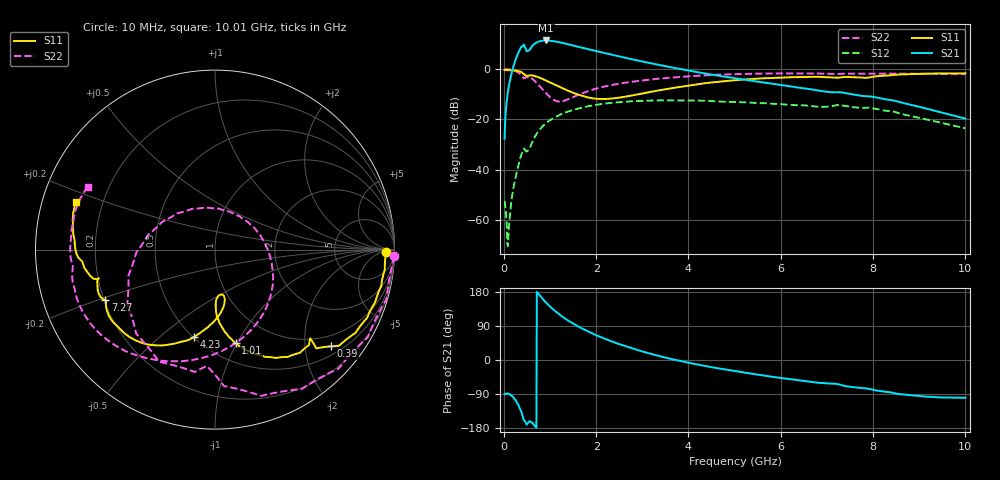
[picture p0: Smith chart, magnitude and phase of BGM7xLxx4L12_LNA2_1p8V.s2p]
! (c) 2014 Infineon Technologies AG
! BGM7xLxx4L12 - Silicon Germanium Quad-Band LTE LNA bank
! 20 May 2014
! Special Application Board
! C1 = L1 = 0 Ohm
! C2 = 100 nF
! Vcc = 1.8V
! RF input and output lines de-embedded
! Port 1 reference plane: LNA input AI (pin 9)
! Port 2 reference plane: LNA output AO (pin 6)
! Network Data:
! Measured BGM7xLxx4L12 device level s-parameters
# GHz S MA R 50
!Freq  MagS11  AngS11  MagS21  AngS21  MagS12  AngS12  MagS22  AngS22
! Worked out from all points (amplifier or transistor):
!   1001 points, 10 MHz to 10.01 GHz, reference 50 ohm
!   highest |S21| = 11.3 dB at 910 MHz (marker M1)
!   |S21| within 3 dB of that: 579.9 MHz to 1.716 GHz (1.136 GHz wide, 99 % of centre) (the widest 1 of 2)
!   unconditionally stable (mu >= 1): 11.87 MHz to end of sweep
!   at 1.67 GHz: K = 1.15, MAG = 9.6 dB, |S12| = -15.5 dB
!   at 5.01 GHz: K = 1.31, MAG = 1.4 dB, |S12| = -13.1 dB
!   at 10.01 GHz: K = 9.49, MAG = -10.9 dB, |S12| = -23.6 dB
!   lowest NFmin = 0.61 dB at 850 MHz
!   S11 on the Smith chart (normalised r, x): 10 MHz: 38, -13; 390 MHz: 0.70, -2.60; 1.01 GHz: 0.68, -0.99; 4.23 GHz: 0.51, -0.66; 7.27 GHz: 0.20, -0.21; 10.01 GHz: 0.10, +0.16
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0.01  0.9535 -0.9  0.04086 -89.7  0.002381 -30.8  1.001 -2.2
0.1  0.9466 -9.5  0.4506 -90.1  0.0006331 -152.6  0.9757 -22.8
0.23  0.9289 -22.2  1.365 -103.9  0.005809 -175.7  0.9174 -53.3
0.33  0.8943 -32.9  2.312 -125.3  0.01441 170.2  0.8151 -76.6
0.39  0.842 -39.8  2.786 -143.8  0.02128 155.2  0.7208 -88.5
0.47  0.7455 -43.4  2.487 -165.8  0.02365 135.4  0.6759 -97.6
0.54  0.7425 -45.0  2.343 -162.8  0.02477 142.5  0.6912 -113.8
0.63  0.735 -52.3  2.975 -168.6  0.03848 144.7  0.6111 -137.9
0.75  0.6793 -62.1  3.494 173.6  0.0586 134.3  0.476 -167.7
0.91  0.5884 -72.7  3.689 151.4  0.08382 119.3  0.3319 152.1
1.01  0.5321 -77.6  3.619 139.4  0.09774 110.8  0.2671 125.5
1.29  0.4038 -86.7  3.25 112.0  0.1322 91.4  0.2307 49.1
1.68  0.295 -89.2  2.662 83.8  0.1698 71.2  0.3226 -12.8
1.98  0.257 -85.1  2.285 66.3  0.1925 58.4  0.403 -39.8
2.33  0.2575 -80.0  1.916 49.2  0.2118 45.7  0.4781 -62.4
3.35  0.3733 -87.3  1.21 11.0  0.2364 16.7  0.6388 -104.4
4.23  0.5001 -103.4  0.8535 -12.9  0.2352 -2.0  0.734 -126.9
5.01  0.5958 -117.0  0.6523 -29.4  0.2203 -14.8  0.7875 -141.6
6.68  0.6968 -144.9  0.3911 -58.3  0.1823 -36.8  0.8129 -166.6
7.27  0.6724 -155.2  0.3461 -64.5  0.193 -42.9  0.7981 -174.4
8.35  0.7429 -174.9  0.2427 -84.6  0.1461 -63.8  0.8048 169.4
10.01  0.819 161.3  0.1028 -99.6  0.06621 -69.4  0.789 154.0
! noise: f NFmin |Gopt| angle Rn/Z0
0.7  0.615  0.469  45.98  0.1704
0.75  0.6231  0.4611  47.55  0.1582
0.8  0.6207  0.4361  49.08  0.1455
0.85  0.6149  0.4352  51.81  0.1363
0.9  0.6283  0.4264  52.77  0.1356
0.95  0.6613  0.4  56.27  0.1361
1  0.6871  0.4044  60.48  0.1306
